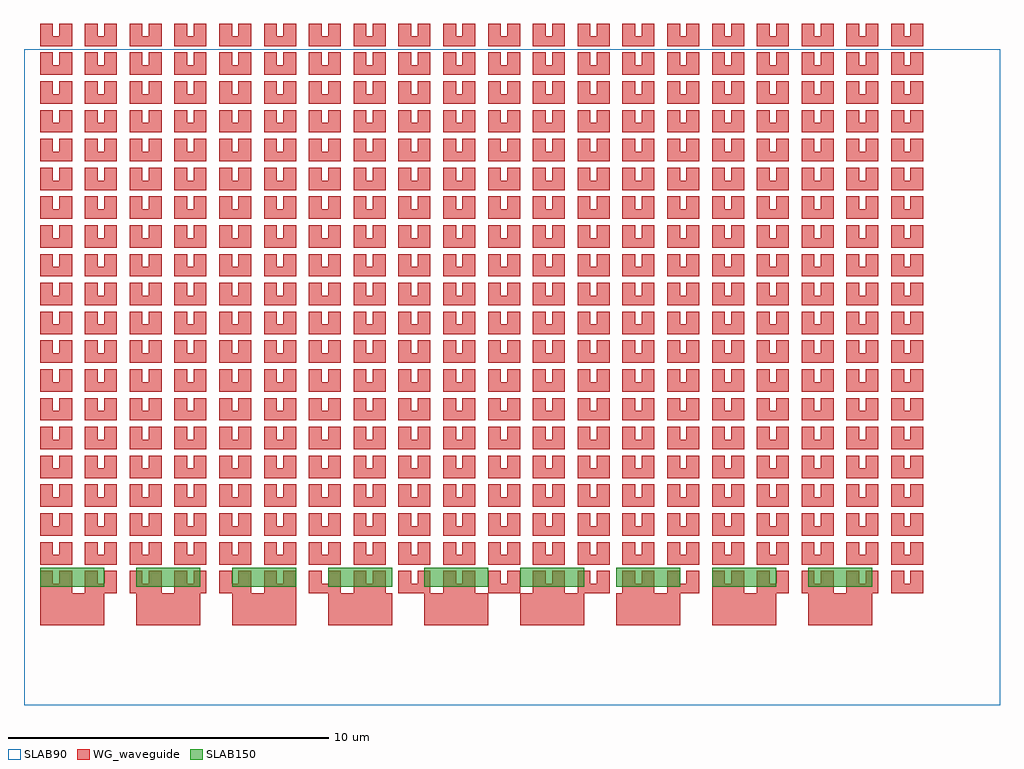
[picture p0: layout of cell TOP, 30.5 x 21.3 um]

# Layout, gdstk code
import gdstk
lib = gdstk.Library(unit=1e-6, precision=1e-09)
def R(c, l, rs):  # rectangles x0, y0, x1, y1
    for r in rs: c.add(gdstk.rectangle(r[:2], r[2:], *l))
def P(c, l, *ps):  # polygons
    for p in ps: c.add(gdstk.Polygon(p, *l))
WG_waveguide = (1, 0)
SLAB150 = (2, 0)
SLAB90 = (3, 0)

child = lib.new_cell('CHILD')
R(child, WG_waveguide, [(0,0,2,1)])
R(child, SLAB150, [(0,1.2,2,1.8)])

top = lib.new_cell('TOP')
P(top, WG_waveguide, [(0,3),(1,3),(1,3.7),(0.6,3.7),(0.6,3.3),(0.4,3.3),(0.4,3.7),(0,3.7)],
  [(1.4,3),(2.4,3),(2.4,3.7),(2,3.7),(2,3.3),(1.8,3.3),(1.8,3.7),(1.4,3.7)],
  [(2.8,3),(3.8,3),(3.8,3.7),(3.4,3.7),(3.4,3.3),(3.2,3.3),(3.2,3.7),(2.8,3.7)],
  [(4.2,3),(5.2,3),(5.2,3.7),(4.8,3.7),(4.8,3.3),(4.6,3.3),(4.6,3.7),(4.2,3.7)],
  [(5.6,3),(6.6,3),(6.6,3.7),(6.2,3.7),(6.2,3.3),(6,3.3),(6,3.7),(5.6,3.7)],
  [(7,3),(8,3),(8,3.7),(7.6,3.7),(7.6,3.3),(7.4,3.3),(7.4,3.7),(7,3.7)],
  [(8.4,3),(9.4,3),(9.4,3.7),(9,3.7),(9,3.3),(8.8,3.3),(8.8,3.7),(8.4,3.7)],
  [(9.8,3),(10.8,3),(10.8,3.7),(10.4,3.7),(10.4,3.3),(10.2,3.3),(10.2,3.7),(9.8,3.7)],
  [(11.2,3),(12.2,3),(12.2,3.7),(11.8,3.7),(11.8,3.3),(11.6,3.3),(11.6,3.7),(11.2,3.7)],
  [(12.6,3),(13.6,3),(13.6,3.7),(13.2,3.7),(13.2,3.3),(13,3.3),(13,3.7),(12.6,3.7)],
  [(14,3),(15,3),(15,3.7),(14.6,3.7),(14.6,3.3),(14.4,3.3),(14.4,3.7),(14,3.7)],
  [(15.4,3),(16.4,3),(16.4,3.7),(16,3.7),(16,3.3),(15.8,3.3),(15.8,3.7),(15.4,3.7)],
  [(16.8,3),(17.8,3),(17.8,3.7),(17.4,3.7),(17.4,3.3),(17.2,3.3),(17.2,3.7),(16.8,3.7)],
  [(18.2,3),(19.2,3),(19.2,3.7),(18.8,3.7),(18.8,3.3),(18.6,3.3),(18.6,3.7),(18.2,3.7)],
  [(19.6,3),(20.6,3),(20.6,3.7),(20.2,3.7),(20.2,3.3),(20,3.3),(20,3.7),(19.6,3.7)],
  [(21,3),(22,3),(22,3.7),(21.6,3.7),(21.6,3.3),(21.4,3.3),(21.4,3.7),(21,3.7)],
  [(22.4,3),(23.4,3),(23.4,3.7),(23,3.7),(23,3.3),(22.8,3.3),(22.8,3.7),(22.4,3.7)],
  [(23.8,3),(24.8,3),(24.8,3.7),(24.4,3.7),(24.4,3.3),(24.2,3.3),(24.2,3.7),(23.8,3.7)],
  [(25.2,3),(26.2,3),(26.2,3.7),(25.8,3.7),(25.8,3.3),(25.6,3.3),(25.6,3.7),(25.2,3.7)],
  [(26.6,3),(27.6,3),(27.6,3.7),(27.2,3.7),(27.2,3.3),(27,3.3),(27,3.7),(26.6,3.7)],
  [(0,3.9),(1,3.9),(1,4.6),(0.6,4.6),(0.6,4.2),(0.4,4.2),(0.4,4.6),(0,4.6)],
  [(1.4,3.9),(2.4,3.9),(2.4,4.6),(2,4.6),(2,4.2),(1.8,4.2),(1.8,4.6),(1.4,4.6)],
  [(2.8,3.9),(3.8,3.9),(3.8,4.6),(3.4,4.6),(3.4,4.2),(3.2,4.2),(3.2,4.6),(2.8,4.6)],
  [(4.2,3.9),(5.2,3.9),(5.2,4.6),(4.8,4.6),(4.8,4.2),(4.6,4.2),(4.6,4.6),(4.2,4.6)],
  [(5.6,3.9),(6.6,3.9),(6.6,4.6),(6.2,4.6),(6.2,4.2),(6,4.2),(6,4.6),(5.6,4.6)],
  [(7,3.9),(8,3.9),(8,4.6),(7.6,4.6),(7.6,4.2),(7.4,4.2),(7.4,4.6),(7,4.6)],
  [(8.4,3.9),(9.4,3.9),(9.4,4.6),(9,4.6),(9,4.2),(8.8,4.2),(8.8,4.6),(8.4,4.6)],
  [(9.8,3.9),(10.8,3.9),(10.8,4.6),(10.4,4.6),(10.4,4.2),(10.2,4.2),(10.2,4.6),(9.8,4.6)],
  [(11.2,3.9),(12.2,3.9),(12.2,4.6),(11.8,4.6),(11.8,4.2),(11.6,4.2),(11.6,4.6),(11.2,4.6)],
  [(12.6,3.9),(13.6,3.9),(13.6,4.6),(13.2,4.6),(13.2,4.2),(13,4.2),(13,4.6),(12.6,4.6)],
  [(14,3.9),(15,3.9),(15,4.6),(14.6,4.6),(14.6,4.2),(14.4,4.2),(14.4,4.6),(14,4.6)],
  [(15.4,3.9),(16.4,3.9),(16.4,4.6),(16,4.6),(16,4.2),(15.8,4.2),(15.8,4.6),(15.4,4.6)],
  [(16.8,3.9),(17.8,3.9),(17.8,4.6),(17.4,4.6),(17.4,4.2),(17.2,4.2),(17.2,4.6),(16.8,4.6)],
  [(18.2,3.9),(19.2,3.9),(19.2,4.6),(18.8,4.6),(18.8,4.2),(18.6,4.2),(18.6,4.6),(18.2,4.6)],
  [(19.6,3.9),(20.6,3.9),(20.6,4.6),(20.2,4.6),(20.2,4.2),(20,4.2),(20,4.6),(19.6,4.6)],
  [(21,3.9),(22,3.9),(22,4.6),(21.6,4.6),(21.6,4.2),(21.4,4.2),(21.4,4.6),(21,4.6)],
  [(22.4,3.9),(23.4,3.9),(23.4,4.6),(23,4.6),(23,4.2),(22.8,4.2),(22.8,4.6),(22.4,4.6)],
  [(23.8,3.9),(24.8,3.9),(24.8,4.6),(24.4,4.6),(24.4,4.2),(24.2,4.2),(24.2,4.6),(23.8,4.6)],
  [(25.2,3.9),(26.2,3.9),(26.2,4.6),(25.8,4.6),(25.8,4.2),(25.6,4.2),(25.6,4.6),(25.2,4.6)],
  [(26.6,3.9),(27.6,3.9),(27.6,4.6),(27.2,4.6),(27.2,4.2),(27,4.2),(27,4.6),(26.6,4.6)],
  [(0,4.8),(1,4.8),(1,5.5),(0.6,5.5),(0.6,5.1),(0.4,5.1),(0.4,5.5),(0,5.5)],
  [(1.4,4.8),(2.4,4.8),(2.4,5.5),(2,5.5),(2,5.1),(1.8,5.1),(1.8,5.5),(1.4,5.5)],
  [(2.8,4.8),(3.8,4.8),(3.8,5.5),(3.4,5.5),(3.4,5.1),(3.2,5.1),(3.2,5.5),(2.8,5.5)],
  [(4.2,4.8),(5.2,4.8),(5.2,5.5),(4.8,5.5),(4.8,5.1),(4.6,5.1),(4.6,5.5),(4.2,5.5)],
  [(5.6,4.8),(6.6,4.8),(6.6,5.5),(6.2,5.5),(6.2,5.1),(6,5.1),(6,5.5),(5.6,5.5)],
  [(7,4.8),(8,4.8),(8,5.5),(7.6,5.5),(7.6,5.1),(7.4,5.1),(7.4,5.5),(7,5.5)],
  [(8.4,4.8),(9.4,4.8),(9.4,5.5),(9,5.5),(9,5.1),(8.8,5.1),(8.8,5.5),(8.4,5.5)],
  [(9.8,4.8),(10.8,4.8),(10.8,5.5),(10.4,5.5),(10.4,5.1),(10.2,5.1),(10.2,5.5),(9.8,5.5)],
  [(11.2,4.8),(12.2,4.8),(12.2,5.5),(11.8,5.5),(11.8,5.1),(11.6,5.1),(11.6,5.5),(11.2,5.5)],
  [(12.6,4.8),(13.6,4.8),(13.6,5.5),(13.2,5.5),(13.2,5.1),(13,5.1),(13,5.5),(12.6,5.5)],
  [(14,4.8),(15,4.8),(15,5.5),(14.6,5.5),(14.6,5.1),(14.4,5.1),(14.4,5.5),(14,5.5)],
  [(15.4,4.8),(16.4,4.8),(16.4,5.5),(16,5.5),(16,5.1),(15.8,5.1),(15.8,5.5),(15.4,5.5)],
  [(16.8,4.8),(17.8,4.8),(17.8,5.5),(17.4,5.5),(17.4,5.1),(17.2,5.1),(17.2,5.5),(16.8,5.5)],
  [(18.2,4.8),(19.2,4.8),(19.2,5.5),(18.8,5.5),(18.8,5.1),(18.6,5.1),(18.6,5.5),(18.2,5.5)],
  [(19.6,4.8),(20.6,4.8),(20.6,5.5),(20.2,5.5),(20.2,5.1),(20,5.1),(20,5.5),(19.6,5.5)],
  [(21,4.8),(22,4.8),(22,5.5),(21.6,5.5),(21.6,5.1),(21.4,5.1),(21.4,5.5),(21,5.5)],
  [(22.4,4.8),(23.4,4.8),(23.4,5.5),(23,5.5),(23,5.1),(22.8,5.1),(22.8,5.5),(22.4,5.5)],
  [(23.8,4.8),(24.8,4.8),(24.8,5.5),(24.4,5.5),(24.4,5.1),(24.2,5.1),(24.2,5.5),(23.8,5.5)],
  [(25.2,4.8),(26.2,4.8),(26.2,5.5),(25.8,5.5),(25.8,5.1),(25.6,5.1),(25.6,5.5),(25.2,5.5)],
  [(26.6,4.8),(27.6,4.8),(27.6,5.5),(27.2,5.5),(27.2,5.1),(27,5.1),(27,5.5),(26.6,5.5)],
  [(0,5.7),(1,5.7),(1,6.4),(0.6,6.4),(0.6,6),(0.4,6),(0.4,6.4),(0,6.4)],
  [(1.4,5.7),(2.4,5.7),(2.4,6.4),(2,6.4),(2,6),(1.8,6),(1.8,6.4),(1.4,6.4)],
  [(2.8,5.7),(3.8,5.7),(3.8,6.4),(3.4,6.4),(3.4,6),(3.2,6),(3.2,6.4),(2.8,6.4)],
  [(4.2,5.7),(5.2,5.7),(5.2,6.4),(4.8,6.4),(4.8,6),(4.6,6),(4.6,6.4),(4.2,6.4)],
  [(5.6,5.7),(6.6,5.7),(6.6,6.4),(6.2,6.4),(6.2,6),(6,6),(6,6.4),(5.6,6.4)],
  [(7,5.7),(8,5.7),(8,6.4),(7.6,6.4),(7.6,6),(7.4,6),(7.4,6.4),(7,6.4)],
  [(8.4,5.7),(9.4,5.7),(9.4,6.4),(9,6.4),(9,6),(8.8,6),(8.8,6.4),(8.4,6.4)],
  [(9.8,5.7),(10.8,5.7),(10.8,6.4),(10.4,6.4),(10.4,6),(10.2,6),(10.2,6.4),(9.8,6.4)],
  [(11.2,5.7),(12.2,5.7),(12.2,6.4),(11.8,6.4),(11.8,6),(11.6,6),(11.6,6.4),(11.2,6.4)],
  [(12.6,5.7),(13.6,5.7),(13.6,6.4),(13.2,6.4),(13.2,6),(13,6),(13,6.4),(12.6,6.4)],
  [(14,5.7),(15,5.7),(15,6.4),(14.6,6.4),(14.6,6),(14.4,6),(14.4,6.4),(14,6.4)],
  [(15.4,5.7),(16.4,5.7),(16.4,6.4),(16,6.4),(16,6),(15.8,6),(15.8,6.4),(15.4,6.4)],
  [(16.8,5.7),(17.8,5.7),(17.8,6.4),(17.4,6.4),(17.4,6),(17.2,6),(17.2,6.4),(16.8,6.4)],
  [(18.2,5.7),(19.2,5.7),(19.2,6.4),(18.8,6.4),(18.8,6),(18.6,6),(18.6,6.4),(18.2,6.4)],
  [(19.6,5.7),(20.6,5.7),(20.6,6.4),(20.2,6.4),(20.2,6),(20,6),(20,6.4),(19.6,6.4)],
  [(21,5.7),(22,5.7),(22,6.4),(21.6,6.4),(21.6,6),(21.4,6),(21.4,6.4),(21,6.4)],
  [(22.4,5.7),(23.4,5.7),(23.4,6.4),(23,6.4),(23,6),(22.8,6),(22.8,6.4),(22.4,6.4)],
  [(23.8,5.7),(24.8,5.7),(24.8,6.4),(24.4,6.4),(24.4,6),(24.2,6),(24.2,6.4),(23.8,6.4)],
  [(25.2,5.7),(26.2,5.7),(26.2,6.4),(25.8,6.4),(25.8,6),(25.6,6),(25.6,6.4),(25.2,6.4)],
  [(26.6,5.7),(27.6,5.7),(27.6,6.4),(27.2,6.4),(27.2,6),(27,6),(27,6.4),(26.6,6.4)],
  [(0,6.6),(1,6.6),(1,7.3),(0.6,7.3),(0.6,6.9),(0.4,6.9),(0.4,7.3),(0,7.3)],
  [(1.4,6.6),(2.4,6.6),(2.4,7.3),(2,7.3),(2,6.9),(1.8,6.9),(1.8,7.3),(1.4,7.3)],
  [(2.8,6.6),(3.8,6.6),(3.8,7.3),(3.4,7.3),(3.4,6.9),(3.2,6.9),(3.2,7.3),(2.8,7.3)],
  [(4.2,6.6),(5.2,6.6),(5.2,7.3),(4.8,7.3),(4.8,6.9),(4.6,6.9),(4.6,7.3),(4.2,7.3)],
  [(5.6,6.6),(6.6,6.6),(6.6,7.3),(6.2,7.3),(6.2,6.9),(6,6.9),(6,7.3),(5.6,7.3)],
  [(7,6.6),(8,6.6),(8,7.3),(7.6,7.3),(7.6,6.9),(7.4,6.9),(7.4,7.3),(7,7.3)],
  [(8.4,6.6),(9.4,6.6),(9.4,7.3),(9,7.3),(9,6.9),(8.8,6.9),(8.8,7.3),(8.4,7.3)],
  [(9.8,6.6),(10.8,6.6),(10.8,7.3),(10.4,7.3),(10.4,6.9),(10.2,6.9),(10.2,7.3),(9.8,7.3)],
  [(11.2,6.6),(12.2,6.6),(12.2,7.3),(11.8,7.3),(11.8,6.9),(11.6,6.9),(11.6,7.3),(11.2,7.3)],
  [(12.6,6.6),(13.6,6.6),(13.6,7.3),(13.2,7.3),(13.2,6.9),(13,6.9),(13,7.3),(12.6,7.3)],
  [(14,6.6),(15,6.6),(15,7.3),(14.6,7.3),(14.6,6.9),(14.4,6.9),(14.4,7.3),(14,7.3)],
  [(15.4,6.6),(16.4,6.6),(16.4,7.3),(16,7.3),(16,6.9),(15.8,6.9),(15.8,7.3),(15.4,7.3)],
  [(16.8,6.6),(17.8,6.6),(17.8,7.3),(17.4,7.3),(17.4,6.9),(17.2,6.9),(17.2,7.3),(16.8,7.3)],
  [(18.2,6.6),(19.2,6.6),(19.2,7.3),(18.8,7.3),(18.8,6.9),(18.6,6.9),(18.6,7.3),(18.2,7.3)],
  [(19.6,6.6),(20.6,6.6),(20.6,7.3),(20.2,7.3),(20.2,6.9),(20,6.9),(20,7.3),(19.6,7.3)],
  [(21,6.6),(22,6.6),(22,7.3),(21.6,7.3),(21.6,6.9),(21.4,6.9),(21.4,7.3),(21,7.3)],
  [(22.4,6.6),(23.4,6.6),(23.4,7.3),(23,7.3),(23,6.9),(22.8,6.9),(22.8,7.3),(22.4,7.3)],
  [(23.8,6.6),(24.8,6.6),(24.8,7.3),(24.4,7.3),(24.4,6.9),(24.2,6.9),(24.2,7.3),(23.8,7.3)],
  [(25.2,6.6),(26.2,6.6),(26.2,7.3),(25.8,7.3),(25.8,6.9),(25.6,6.9),(25.6,7.3),(25.2,7.3)],
  [(26.6,6.6),(27.6,6.6),(27.6,7.3),(27.2,7.3),(27.2,6.9),(27,6.9),(27,7.3),(26.6,7.3)],
  [(0,7.5),(1,7.5),(1,8.2),(0.6,8.2),(0.6,7.8),(0.4,7.8),(0.4,8.2),(0,8.2)],
  [(1.4,7.5),(2.4,7.5),(2.4,8.2),(2,8.2),(2,7.8),(1.8,7.8),(1.8,8.2),(1.4,8.2)],
  [(2.8,7.5),(3.8,7.5),(3.8,8.2),(3.4,8.2),(3.4,7.8),(3.2,7.8),(3.2,8.2),(2.8,8.2)],
  [(4.2,7.5),(5.2,7.5),(5.2,8.2),(4.8,8.2),(4.8,7.8),(4.6,7.8),(4.6,8.2),(4.2,8.2)],
  [(5.6,7.5),(6.6,7.5),(6.6,8.2),(6.2,8.2),(6.2,7.8),(6,7.8),(6,8.2),(5.6,8.2)],
  [(7,7.5),(8,7.5),(8,8.2),(7.6,8.2),(7.6,7.8),(7.4,7.8),(7.4,8.2),(7,8.2)],
  [(8.4,7.5),(9.4,7.5),(9.4,8.2),(9,8.2),(9,7.8),(8.8,7.8),(8.8,8.2),(8.4,8.2)],
  [(9.8,7.5),(10.8,7.5),(10.8,8.2),(10.4,8.2),(10.4,7.8),(10.2,7.8),(10.2,8.2),(9.8,8.2)],
  [(11.2,7.5),(12.2,7.5),(12.2,8.2),(11.8,8.2),(11.8,7.8),(11.6,7.8),(11.6,8.2),(11.2,8.2)],
  [(12.6,7.5),(13.6,7.5),(13.6,8.2),(13.2,8.2),(13.2,7.8),(13,7.8),(13,8.2),(12.6,8.2)],
  [(14,7.5),(15,7.5),(15,8.2),(14.6,8.2),(14.6,7.8),(14.4,7.8),(14.4,8.2),(14,8.2)],
  [(15.4,7.5),(16.4,7.5),(16.4,8.2),(16,8.2),(16,7.8),(15.8,7.8),(15.8,8.2),(15.4,8.2)],
  [(16.8,7.5),(17.8,7.5),(17.8,8.2),(17.4,8.2),(17.4,7.8),(17.2,7.8),(17.2,8.2),(16.8,8.2)],
  [(18.2,7.5),(19.2,7.5),(19.2,8.2),(18.8,8.2),(18.8,7.8),(18.6,7.8),(18.6,8.2),(18.2,8.2)],
  [(19.6,7.5),(20.6,7.5),(20.6,8.2),(20.2,8.2),(20.2,7.8),(20,7.8),(20,8.2),(19.6,8.2)],
  [(21,7.5),(22,7.5),(22,8.2),(21.6,8.2),(21.6,7.8),(21.4,7.8),(21.4,8.2),(21,8.2)],
  [(22.4,7.5),(23.4,7.5),(23.4,8.2),(23,8.2),(23,7.8),(22.8,7.8),(22.8,8.2),(22.4,8.2)],
  [(23.8,7.5),(24.8,7.5),(24.8,8.2),(24.4,8.2),(24.4,7.8),(24.2,7.8),(24.2,8.2),(23.8,8.2)],
  [(25.2,7.5),(26.2,7.5),(26.2,8.2),(25.8,8.2),(25.8,7.8),(25.6,7.8),(25.6,8.2),(25.2,8.2)],
  [(26.6,7.5),(27.6,7.5),(27.6,8.2),(27.2,8.2),(27.2,7.8),(27,7.8),(27,8.2),(26.6,8.2)],
  [(0,8.4),(1,8.4),(1,9.1),(0.6,9.1),(0.6,8.7),(0.4,8.7),(0.4,9.1),(0,9.1)],
  [(1.4,8.4),(2.4,8.4),(2.4,9.1),(2,9.1),(2,8.7),(1.8,8.7),(1.8,9.1),(1.4,9.1)],
  [(2.8,8.4),(3.8,8.4),(3.8,9.1),(3.4,9.1),(3.4,8.7),(3.2,8.7),(3.2,9.1),(2.8,9.1)],
  [(4.2,8.4),(5.2,8.4),(5.2,9.1),(4.8,9.1),(4.8,8.7),(4.6,8.7),(4.6,9.1),(4.2,9.1)],
  [(5.6,8.4),(6.6,8.4),(6.6,9.1),(6.2,9.1),(6.2,8.7),(6,8.7),(6,9.1),(5.6,9.1)],
  [(7,8.4),(8,8.4),(8,9.1),(7.6,9.1),(7.6,8.7),(7.4,8.7),(7.4,9.1),(7,9.1)],
  [(8.4,8.4),(9.4,8.4),(9.4,9.1),(9,9.1),(9,8.7),(8.8,8.7),(8.8,9.1),(8.4,9.1)],
  [(9.8,8.4),(10.8,8.4),(10.8,9.1),(10.4,9.1),(10.4,8.7),(10.2,8.7),(10.2,9.1),(9.8,9.1)],
  [(11.2,8.4),(12.2,8.4),(12.2,9.1),(11.8,9.1),(11.8,8.7),(11.6,8.7),(11.6,9.1),(11.2,9.1)],
  [(12.6,8.4),(13.6,8.4),(13.6,9.1),(13.2,9.1),(13.2,8.7),(13,8.7),(13,9.1),(12.6,9.1)],
  [(14,8.4),(15,8.4),(15,9.1),(14.6,9.1),(14.6,8.7),(14.4,8.7),(14.4,9.1),(14,9.1)],
  [(15.4,8.4),(16.4,8.4),(16.4,9.1),(16,9.1),(16,8.7),(15.8,8.7),(15.8,9.1),(15.4,9.1)],
  [(16.8,8.4),(17.8,8.4),(17.8,9.1),(17.4,9.1),(17.4,8.7),(17.2,8.7),(17.2,9.1),(16.8,9.1)],
  [(18.2,8.4),(19.2,8.4),(19.2,9.1),(18.8,9.1),(18.8,8.7),(18.6,8.7),(18.6,9.1),(18.2,9.1)],
  [(19.6,8.4),(20.6,8.4),(20.6,9.1),(20.2,9.1),(20.2,8.7),(20,8.7),(20,9.1),(19.6,9.1)],
  [(21,8.4),(22,8.4),(22,9.1),(21.6,9.1),(21.6,8.7),(21.4,8.7),(21.4,9.1),(21,9.1)],
  [(22.4,8.4),(23.4,8.4),(23.4,9.1),(23,9.1),(23,8.7),(22.8,8.7),(22.8,9.1),(22.4,9.1)],
  [(23.8,8.4),(24.8,8.4),(24.8,9.1),(24.4,9.1),(24.4,8.7),(24.2,8.7),(24.2,9.1),(23.8,9.1)],
  [(25.2,8.4),(26.2,8.4),(26.2,9.1),(25.8,9.1),(25.8,8.7),(25.6,8.7),(25.6,9.1),(25.2,9.1)],
  [(26.6,8.4),(27.6,8.4),(27.6,9.1),(27.2,9.1),(27.2,8.7),(27,8.7),(27,9.1),(26.6,9.1)],
  [(0,9.3),(1,9.3),(1,10),(0.6,10),(0.6,9.6),(0.4,9.6),(0.4,10),(0,10)],
  [(1.4,9.3),(2.4,9.3),(2.4,10),(2,10),(2,9.6),(1.8,9.6),(1.8,10),(1.4,10)],
  [(2.8,9.3),(3.8,9.3),(3.8,10),(3.4,10),(3.4,9.6),(3.2,9.6),(3.2,10),(2.8,10)],
  [(4.2,9.3),(5.2,9.3),(5.2,10),(4.8,10),(4.8,9.6),(4.6,9.6),(4.6,10),(4.2,10)],
  [(5.6,9.3),(6.6,9.3),(6.6,10),(6.2,10),(6.2,9.6),(6,9.6),(6,10),(5.6,10)],
  [(7,9.3),(8,9.3),(8,10),(7.6,10),(7.6,9.6),(7.4,9.6),(7.4,10),(7,10)],
  [(8.4,9.3),(9.4,9.3),(9.4,10),(9,10),(9,9.6),(8.8,9.6),(8.8,10),(8.4,10)],
  [(9.8,9.3),(10.8,9.3),(10.8,10),(10.4,10),(10.4,9.6),(10.2,9.6),(10.2,10),(9.8,10)],
  [(11.2,9.3),(12.2,9.3),(12.2,10),(11.8,10),(11.8,9.6),(11.6,9.6),(11.6,10),(11.2,10)],
  [(12.6,9.3),(13.6,9.3),(13.6,10),(13.2,10),(13.2,9.6),(13,9.6),(13,10),(12.6,10)],
  [(14,9.3),(15,9.3),(15,10),(14.6,10),(14.6,9.6),(14.4,9.6),(14.4,10),(14,10)],
  [(15.4,9.3),(16.4,9.3),(16.4,10),(16,10),(16,9.6),(15.8,9.6),(15.8,10),(15.4,10)],
  [(16.8,9.3),(17.8,9.3),(17.8,10),(17.4,10),(17.4,9.6),(17.2,9.6),(17.2,10),(16.8,10)],
  [(18.2,9.3),(19.2,9.3),(19.2,10),(18.8,10),(18.8,9.6),(18.6,9.6),(18.6,10),(18.2,10)],
  [(19.6,9.3),(20.6,9.3),(20.6,10),(20.2,10),(20.2,9.6),(20,9.6),(20,10),(19.6,10)],
  [(21,9.3),(22,9.3),(22,10),(21.6,10),(21.6,9.6),(21.4,9.6),(21.4,10),(21,10)],
  [(22.4,9.3),(23.4,9.3),(23.4,10),(23,10),(23,9.6),(22.8,9.6),(22.8,10),(22.4,10)],
  [(23.8,9.3),(24.8,9.3),(24.8,10),(24.4,10),(24.4,9.6),(24.2,9.6),(24.2,10),(23.8,10)],
  [(25.2,9.3),(26.2,9.3),(26.2,10),(25.8,10),(25.8,9.6),(25.6,9.6),(25.6,10),(25.2,10)],
  [(26.6,9.3),(27.6,9.3),(27.6,10),(27.2,10),(27.2,9.6),(27,9.6),(27,10),(26.6,10)],
  [(0,10.2),(1,10.2),(1,10.9),(0.6,10.9),(0.6,10.5),(0.4,10.5),(0.4,10.9),(0,10.9)],
  [(1.4,10.2),(2.4,10.2),(2.4,10.9),(2,10.9),(2,10.5),(1.8,10.5),(1.8,10.9),(1.4,10.9)],
  [(2.8,10.2),(3.8,10.2),(3.8,10.9),(3.4,10.9),(3.4,10.5),(3.2,10.5),(3.2,10.9),(2.8,10.9)],
  [(4.2,10.2),(5.2,10.2),(5.2,10.9),(4.8,10.9),(4.8,10.5),(4.6,10.5),(4.6,10.9),(4.2,10.9)],
  [(5.6,10.2),(6.6,10.2),(6.6,10.9),(6.2,10.9),(6.2,10.5),(6,10.5),(6,10.9),(5.6,10.9)],
  [(7,10.2),(8,10.2),(8,10.9),(7.6,10.9),(7.6,10.5),(7.4,10.5),(7.4,10.9),(7,10.9)],
  [(8.4,10.2),(9.4,10.2),(9.4,10.9),(9,10.9),(9,10.5),(8.8,10.5),(8.8,10.9),(8.4,10.9)],
  [(9.8,10.2),(10.8,10.2),(10.8,10.9),(10.4,10.9),(10.4,10.5),(10.2,10.5),(10.2,10.9),(9.8,10.9)],
  [(11.2,10.2),(12.2,10.2),(12.2,10.9),(11.8,10.9),(11.8,10.5),(11.6,10.5),(11.6,10.9),(11.2,10.9)],
  [(12.6,10.2),(13.6,10.2),(13.6,10.9),(13.2,10.9),(13.2,10.5),(13,10.5),(13,10.9),(12.6,10.9)],
  [(14,10.2),(15,10.2),(15,10.9),(14.6,10.9),(14.6,10.5),(14.4,10.5),(14.4,10.9),(14,10.9)],
  [(15.4,10.2),(16.4,10.2),(16.4,10.9),(16,10.9),(16,10.5),(15.8,10.5),(15.8,10.9),(15.4,10.9)],
  [(16.8,10.2),(17.8,10.2),(17.8,10.9),(17.4,10.9),(17.4,10.5),(17.2,10.5),(17.2,10.9),(16.8,10.9)],
  [(18.2,10.2),(19.2,10.2),(19.2,10.9),(18.8,10.9),(18.8,10.5),(18.6,10.5),(18.6,10.9),(18.2,10.9)],
  [(19.6,10.2),(20.6,10.2),(20.6,10.9),(20.2,10.9),(20.2,10.5),(20,10.5),(20,10.9),(19.6,10.9)],
  [(21,10.2),(22,10.2),(22,10.9),(21.6,10.9),(21.6,10.5),(21.4,10.5),(21.4,10.9),(21,10.9)],
  [(22.4,10.2),(23.4,10.2),(23.4,10.9),(23,10.9),(23,10.5),(22.8,10.5),(22.8,10.9),(22.4,10.9)],
  [(23.8,10.2),(24.8,10.2),(24.8,10.9),(24.4,10.9),(24.4,10.5),(24.2,10.5),(24.2,10.9),(23.8,10.9)],
  [(25.2,10.2),(26.2,10.2),(26.2,10.9),(25.8,10.9),(25.8,10.5),(25.6,10.5),(25.6,10.9),(25.2,10.9)],
  [(26.6,10.2),(27.6,10.2),(27.6,10.9),(27.2,10.9),(27.2,10.5),(27,10.5),(27,10.9),(26.6,10.9)],
  [(0,11.1),(1,11.1),(1,11.8),(0.6,11.8),(0.6,11.4),(0.4,11.4),(0.4,11.8),(0,11.8)],
  [(1.4,11.1),(2.4,11.1),(2.4,11.8),(2,11.8),(2,11.4),(1.8,11.4),(1.8,11.8),(1.4,11.8)],
  [(2.8,11.1),(3.8,11.1),(3.8,11.8),(3.4,11.8),(3.4,11.4),(3.2,11.4),(3.2,11.8),(2.8,11.8)],
  [(4.2,11.1),(5.2,11.1),(5.2,11.8),(4.8,11.8),(4.8,11.4),(4.6,11.4),(4.6,11.8),(4.2,11.8)],
  [(5.6,11.1),(6.6,11.1),(6.6,11.8),(6.2,11.8),(6.2,11.4),(6,11.4),(6,11.8),(5.6,11.8)],
  [(7,11.1),(8,11.1),(8,11.8),(7.6,11.8),(7.6,11.4),(7.4,11.4),(7.4,11.8),(7,11.8)],
  [(8.4,11.1),(9.4,11.1),(9.4,11.8),(9,11.8),(9,11.4),(8.8,11.4),(8.8,11.8),(8.4,11.8)],
  [(9.8,11.1),(10.8,11.1),(10.8,11.8),(10.4,11.8),(10.4,11.4),(10.2,11.4),(10.2,11.8),(9.8,11.8)],
  [(11.2,11.1),(12.2,11.1),(12.2,11.8),(11.8,11.8),(11.8,11.4),(11.6,11.4),(11.6,11.8),(11.2,11.8)],
  [(12.6,11.1),(13.6,11.1),(13.6,11.8),(13.2,11.8),(13.2,11.4),(13,11.4),(13,11.8),(12.6,11.8)],
  [(14,11.1),(15,11.1),(15,11.8),(14.6,11.8),(14.6,11.4),(14.4,11.4),(14.4,11.8),(14,11.8)],
  [(15.4,11.1),(16.4,11.1),(16.4,11.8),(16,11.8),(16,11.4),(15.8,11.4),(15.8,11.8),(15.4,11.8)],
  [(16.8,11.1),(17.8,11.1),(17.8,11.8),(17.4,11.8),(17.4,11.4),(17.2,11.4),(17.2,11.8),(16.8,11.8)],
  [(18.2,11.1),(19.2,11.1),(19.2,11.8),(18.8,11.8),(18.8,11.4),(18.6,11.4),(18.6,11.8),(18.2,11.8)],
  [(19.6,11.1),(20.6,11.1),(20.6,11.8),(20.2,11.8),(20.2,11.4),(20,11.4),(20,11.8),(19.6,11.8)],
  [(21,11.1),(22,11.1),(22,11.8),(21.6,11.8),(21.6,11.4),(21.4,11.4),(21.4,11.8),(21,11.8)],
  [(22.4,11.1),(23.4,11.1),(23.4,11.8),(23,11.8),(23,11.4),(22.8,11.4),(22.8,11.8),(22.4,11.8)],
  [(23.8,11.1),(24.8,11.1),(24.8,11.8),(24.4,11.8),(24.4,11.4),(24.2,11.4),(24.2,11.8),(23.8,11.8)],
  [(25.2,11.1),(26.2,11.1),(26.2,11.8),(25.8,11.8),(25.8,11.4),(25.6,11.4),(25.6,11.8),(25.2,11.8)],
  [(26.6,11.1),(27.6,11.1),(27.6,11.8),(27.2,11.8),(27.2,11.4),(27,11.4),(27,11.8),(26.6,11.8)],
  [(0,12),(1,12),(1,12.7),(0.6,12.7),(0.6,12.3),(0.4,12.3),(0.4,12.7),(0,12.7)],
  [(1.4,12),(2.4,12),(2.4,12.7),(2,12.7),(2,12.3),(1.8,12.3),(1.8,12.7),(1.4,12.7)],
  [(2.8,12),(3.8,12),(3.8,12.7),(3.4,12.7),(3.4,12.3),(3.2,12.3),(3.2,12.7),(2.8,12.7)],
  [(4.2,12),(5.2,12),(5.2,12.7),(4.8,12.7),(4.8,12.3),(4.6,12.3),(4.6,12.7),(4.2,12.7)],
  [(5.6,12),(6.6,12),(6.6,12.7),(6.2,12.7),(6.2,12.3),(6,12.3),(6,12.7),(5.6,12.7)],
  [(7,12),(8,12),(8,12.7),(7.6,12.7),(7.6,12.3),(7.4,12.3),(7.4,12.7),(7,12.7)],
  [(8.4,12),(9.4,12),(9.4,12.7),(9,12.7),(9,12.3),(8.8,12.3),(8.8,12.7),(8.4,12.7)],
  [(9.8,12),(10.8,12),(10.8,12.7),(10.4,12.7),(10.4,12.3),(10.2,12.3),(10.2,12.7),(9.8,12.7)],
  [(11.2,12),(12.2,12),(12.2,12.7),(11.8,12.7),(11.8,12.3),(11.6,12.3),(11.6,12.7),(11.2,12.7)],
  [(12.6,12),(13.6,12),(13.6,12.7),(13.2,12.7),(13.2,12.3),(13,12.3),(13,12.7),(12.6,12.7)],
  [(14,12),(15,12),(15,12.7),(14.6,12.7),(14.6,12.3),(14.4,12.3),(14.4,12.7),(14,12.7)],
  [(15.4,12),(16.4,12),(16.4,12.7),(16,12.7),(16,12.3),(15.8,12.3),(15.8,12.7),(15.4,12.7)],
  [(16.8,12),(17.8,12),(17.8,12.7),(17.4,12.7),(17.4,12.3),(17.2,12.3),(17.2,12.7),(16.8,12.7)],
  [(18.2,12),(19.2,12),(19.2,12.7),(18.8,12.7),(18.8,12.3),(18.6,12.3),(18.6,12.7),(18.2,12.7)],
  [(19.6,12),(20.6,12),(20.6,12.7),(20.2,12.7),(20.2,12.3),(20,12.3),(20,12.7),(19.6,12.7)],
  [(21,12),(22,12),(22,12.7),(21.6,12.7),(21.6,12.3),(21.4,12.3),(21.4,12.7),(21,12.7)],
  [(22.4,12),(23.4,12),(23.4,12.7),(23,12.7),(23,12.3),(22.8,12.3),(22.8,12.7),(22.4,12.7)],
  [(23.8,12),(24.8,12),(24.8,12.7),(24.4,12.7),(24.4,12.3),(24.2,12.3),(24.2,12.7),(23.8,12.7)],
  [(25.2,12),(26.2,12),(26.2,12.7),(25.8,12.7),(25.8,12.3),(25.6,12.3),(25.6,12.7),(25.2,12.7)],
  [(26.6,12),(27.6,12),(27.6,12.7),(27.2,12.7),(27.2,12.3),(27,12.3),(27,12.7),(26.6,12.7)],
  [(0,12.9),(1,12.9),(1,13.6),(0.6,13.6),(0.6,13.2),(0.4,13.2),(0.4,13.6),(0,13.6)],
  [(1.4,12.9),(2.4,12.9),(2.4,13.6),(2,13.6),(2,13.2),(1.8,13.2),(1.8,13.6),(1.4,13.6)],
  [(2.8,12.9),(3.8,12.9),(3.8,13.6),(3.4,13.6),(3.4,13.2),(3.2,13.2),(3.2,13.6),(2.8,13.6)],
  [(4.2,12.9),(5.2,12.9),(5.2,13.6),(4.8,13.6),(4.8,13.2),(4.6,13.2),(4.6,13.6),(4.2,13.6)],
  [(5.6,12.9),(6.6,12.9),(6.6,13.6),(6.2,13.6),(6.2,13.2),(6,13.2),(6,13.6),(5.6,13.6)],
  [(7,12.9),(8,12.9),(8,13.6),(7.6,13.6),(7.6,13.2),(7.4,13.2),(7.4,13.6),(7,13.6)],
  [(8.4,12.9),(9.4,12.9),(9.4,13.6),(9,13.6),(9,13.2),(8.8,13.2),(8.8,13.6),(8.4,13.6)],
  [(9.8,12.9),(10.8,12.9),(10.8,13.6),(10.4,13.6),(10.4,13.2),(10.2,13.2),(10.2,13.6),(9.8,13.6)],
  [(11.2,12.9),(12.2,12.9),(12.2,13.6),(11.8,13.6),(11.8,13.2),(11.6,13.2),(11.6,13.6),(11.2,13.6)],
  [(12.6,12.9),(13.6,12.9),(13.6,13.6),(13.2,13.6),(13.2,13.2),(13,13.2),(13,13.6),(12.6,13.6)],
  [(14,12.9),(15,12.9),(15,13.6),(14.6,13.6),(14.6,13.2),(14.4,13.2),(14.4,13.6),(14,13.6)],
  [(15.4,12.9),(16.4,12.9),(16.4,13.6),(16,13.6),(16,13.2),(15.8,13.2),(15.8,13.6),(15.4,13.6)],
  [(16.8,12.9),(17.8,12.9),(17.8,13.6),(17.4,13.6),(17.4,13.2),(17.2,13.2),(17.2,13.6),(16.8,13.6)],
  [(18.2,12.9),(19.2,12.9),(19.2,13.6),(18.8,13.6),(18.8,13.2),(18.6,13.2),(18.6,13.6),(18.2,13.6)],
  [(19.6,12.9),(20.6,12.9),(20.6,13.6),(20.2,13.6),(20.2,13.2),(20,13.2),(20,13.6),(19.6,13.6)],
  [(21,12.9),(22,12.9),(22,13.6),(21.6,13.6),(21.6,13.2),(21.4,13.2),(21.4,13.6),(21,13.6)],
  [(22.4,12.9),(23.4,12.9),(23.4,13.6),(23,13.6),(23,13.2),(22.8,13.2),(22.8,13.6),(22.4,13.6)],
  [(23.8,12.9),(24.8,12.9),(24.8,13.6),(24.4,13.6),(24.4,13.2),(24.2,13.2),(24.2,13.6),(23.8,13.6)],
  [(25.2,12.9),(26.2,12.9),(26.2,13.6),(25.8,13.6),(25.8,13.2),(25.6,13.2),(25.6,13.6),(25.2,13.6)],
  [(26.6,12.9),(27.6,12.9),(27.6,13.6),(27.2,13.6),(27.2,13.2),(27,13.2),(27,13.6),(26.6,13.6)],
  [(0,13.8),(1,13.8),(1,14.5),(0.6,14.5),(0.6,14.1),(0.4,14.1),(0.4,14.5),(0,14.5)],
  [(1.4,13.8),(2.4,13.8),(2.4,14.5),(2,14.5),(2,14.1),(1.8,14.1),(1.8,14.5),(1.4,14.5)],
  [(2.8,13.8),(3.8,13.8),(3.8,14.5),(3.4,14.5),(3.4,14.1),(3.2,14.1),(3.2,14.5),(2.8,14.5)],
  [(4.2,13.8),(5.2,13.8),(5.2,14.5),(4.8,14.5),(4.8,14.1),(4.6,14.1),(4.6,14.5),(4.2,14.5)],
  [(5.6,13.8),(6.6,13.8),(6.6,14.5),(6.2,14.5),(6.2,14.1),(6,14.1),(6,14.5),(5.6,14.5)],
  [(7,13.8),(8,13.8),(8,14.5),(7.6,14.5),(7.6,14.1),(7.4,14.1),(7.4,14.5),(7,14.5)],
  [(8.4,13.8),(9.4,13.8),(9.4,14.5),(9,14.5),(9,14.1),(8.8,14.1),(8.8,14.5),(8.4,14.5)],
  [(9.8,13.8),(10.8,13.8),(10.8,14.5),(10.4,14.5),(10.4,14.1),(10.2,14.1),(10.2,14.5),(9.8,14.5)],
  [(11.2,13.8),(12.2,13.8),(12.2,14.5),(11.8,14.5),(11.8,14.1),(11.6,14.1),(11.6,14.5),(11.2,14.5)],
  [(12.6,13.8),(13.6,13.8),(13.6,14.5),(13.2,14.5),(13.2,14.1),(13,14.1),(13,14.5),(12.6,14.5)],
  [(14,13.8),(15,13.8),(15,14.5),(14.6,14.5),(14.6,14.1),(14.4,14.1),(14.4,14.5),(14,14.5)],
  [(15.4,13.8),(16.4,13.8),(16.4,14.5),(16,14.5),(16,14.1),(15.8,14.1),(15.8,14.5),(15.4,14.5)],
  [(16.8,13.8),(17.8,13.8),(17.8,14.5),(17.4,14.5),(17.4,14.1),(17.2,14.1),(17.2,14.5),(16.8,14.5)],
  [(18.2,13.8),(19.2,13.8),(19.2,14.5),(18.8,14.5),(18.8,14.1),(18.6,14.1),(18.6,14.5),(18.2,14.5)],
  [(19.6,13.8),(20.6,13.8),(20.6,14.5),(20.2,14.5),(20.2,14.1),(20,14.1),(20,14.5),(19.6,14.5)],
  [(21,13.8),(22,13.8),(22,14.5),(21.6,14.5),(21.6,14.1),(21.4,14.1),(21.4,14.5),(21,14.5)],
  [(22.4,13.8),(23.4,13.8),(23.4,14.5),(23,14.5),(23,14.1),(22.8,14.1),(22.8,14.5),(22.4,14.5)],
  [(23.8,13.8),(24.8,13.8),(24.8,14.5),(24.4,14.5),(24.4,14.1),(24.2,14.1),(24.2,14.5),(23.8,14.5)],
  [(25.2,13.8),(26.2,13.8),(26.2,14.5),(25.8,14.5),(25.8,14.1),(25.6,14.1),(25.6,14.5),(25.2,14.5)],
  [(26.6,13.8),(27.6,13.8),(27.6,14.5),(27.2,14.5),(27.2,14.1),(27,14.1),(27,14.5),(26.6,14.5)],
  [(0,14.7),(1,14.7),(1,15.4),(0.6,15.4),(0.6,15),(0.4,15),(0.4,15.4),(0,15.4)],
  [(1.4,14.7),(2.4,14.7),(2.4,15.4),(2,15.4),(2,15),(1.8,15),(1.8,15.4),(1.4,15.4)],
  [(2.8,14.7),(3.8,14.7),(3.8,15.4),(3.4,15.4),(3.4,15),(3.2,15),(3.2,15.4),(2.8,15.4)],
  [(4.2,14.7),(5.2,14.7),(5.2,15.4),(4.8,15.4),(4.8,15),(4.6,15),(4.6,15.4),(4.2,15.4)],
  [(5.6,14.7),(6.6,14.7),(6.6,15.4),(6.2,15.4),(6.2,15),(6,15),(6,15.4),(5.6,15.4)],
  [(7,14.7),(8,14.7),(8,15.4),(7.6,15.4),(7.6,15),(7.4,15),(7.4,15.4),(7,15.4)],
  [(8.4,14.7),(9.4,14.7),(9.4,15.4),(9,15.4),(9,15),(8.8,15),(8.8,15.4),(8.4,15.4)],
  [(9.8,14.7),(10.8,14.7),(10.8,15.4),(10.4,15.4),(10.4,15),(10.2,15),(10.2,15.4),(9.8,15.4)],
  [(11.2,14.7),(12.2,14.7),(12.2,15.4),(11.8,15.4),(11.8,15),(11.6,15),(11.6,15.4),(11.2,15.4)],
  [(12.6,14.7),(13.6,14.7),(13.6,15.4),(13.2,15.4),(13.2,15),(13,15),(13,15.4),(12.6,15.4)],
  [(14,14.7),(15,14.7),(15,15.4),(14.6,15.4),(14.6,15),(14.4,15),(14.4,15.4),(14,15.4)],
  [(15.4,14.7),(16.4,14.7),(16.4,15.4),(16,15.4),(16,15),(15.8,15),(15.8,15.4),(15.4,15.4)],
  [(16.8,14.7),(17.8,14.7),(17.8,15.4),(17.4,15.4),(17.4,15),(17.2,15),(17.2,15.4),(16.8,15.4)],
  [(18.2,14.7),(19.2,14.7),(19.2,15.4),(18.8,15.4),(18.8,15),(18.6,15),(18.6,15.4),(18.2,15.4)],
  [(19.6,14.7),(20.6,14.7),(20.6,15.4),(20.2,15.4),(20.2,15),(20,15),(20,15.4),(19.6,15.4)],
  [(21,14.7),(22,14.7),(22,15.4),(21.6,15.4),(21.6,15),(21.4,15),(21.4,15.4),(21,15.4)],
  [(22.4,14.7),(23.4,14.7),(23.4,15.4),(23,15.4),(23,15),(22.8,15),(22.8,15.4),(22.4,15.4)],
  [(23.8,14.7),(24.8,14.7),(24.8,15.4),(24.4,15.4),(24.4,15),(24.2,15),(24.2,15.4),(23.8,15.4)],
  [(25.2,14.7),(26.2,14.7),(26.2,15.4),(25.8,15.4),(25.8,15),(25.6,15),(25.6,15.4),(25.2,15.4)],
  [(26.6,14.7),(27.6,14.7),(27.6,15.4),(27.2,15.4),(27.2,15),(27,15),(27,15.4),(26.6,15.4)],
  [(0,15.6),(1,15.6),(1,16.3),(0.6,16.3),(0.6,15.9),(0.4,15.9),(0.4,16.3),(0,16.3)],
  [(1.4,15.6),(2.4,15.6),(2.4,16.3),(2,16.3),(2,15.9),(1.8,15.9),(1.8,16.3),(1.4,16.3)],
  [(2.8,15.6),(3.8,15.6),(3.8,16.3),(3.4,16.3),(3.4,15.9),(3.2,15.9),(3.2,16.3),(2.8,16.3)],
  [(4.2,15.6),(5.2,15.6),(5.2,16.3),(4.8,16.3),(4.8,15.9),(4.6,15.9),(4.6,16.3),(4.2,16.3)],
  [(5.6,15.6),(6.6,15.6),(6.6,16.3),(6.2,16.3),(6.2,15.9),(6,15.9),(6,16.3),(5.6,16.3)],
  [(7,15.6),(8,15.6),(8,16.3),(7.6,16.3),(7.6,15.9),(7.4,15.9),(7.4,16.3),(7,16.3)],
  [(8.4,15.6),(9.4,15.6),(9.4,16.3),(9,16.3),(9,15.9),(8.8,15.9),(8.8,16.3),(8.4,16.3)],
  [(9.8,15.6),(10.8,15.6),(10.8,16.3),(10.4,16.3),(10.4,15.9),(10.2,15.9),(10.2,16.3),(9.8,16.3)],
  [(11.2,15.6),(12.2,15.6),(12.2,16.3),(11.8,16.3),(11.8,15.9),(11.6,15.9),(11.6,16.3),(11.2,16.3)],
  [(12.6,15.6),(13.6,15.6),(13.6,16.3),(13.2,16.3),(13.2,15.9),(13,15.9),(13,16.3),(12.6,16.3)],
  [(14,15.6),(15,15.6),(15,16.3),(14.6,16.3),(14.6,15.9),(14.4,15.9),(14.4,16.3),(14,16.3)],
  [(15.4,15.6),(16.4,15.6),(16.4,16.3),(16,16.3),(16,15.9),(15.8,15.9),(15.8,16.3),(15.4,16.3)],
  [(16.8,15.6),(17.8,15.6),(17.8,16.3),(17.4,16.3),(17.4,15.9),(17.2,15.9),(17.2,16.3),(16.8,16.3)],
  [(18.2,15.6),(19.2,15.6),(19.2,16.3),(18.8,16.3),(18.8,15.9),(18.6,15.9),(18.6,16.3),(18.2,16.3)],
  [(19.6,15.6),(20.6,15.6),(20.6,16.3),(20.2,16.3),(20.2,15.9),(20,15.9),(20,16.3),(19.6,16.3)],
  [(21,15.6),(22,15.6),(22,16.3),(21.6,16.3),(21.6,15.9),(21.4,15.9),(21.4,16.3),(21,16.3)],
  [(22.4,15.6),(23.4,15.6),(23.4,16.3),(23,16.3),(23,15.9),(22.8,15.9),(22.8,16.3),(22.4,16.3)],
  [(23.8,15.6),(24.8,15.6),(24.8,16.3),(24.4,16.3),(24.4,15.9),(24.2,15.9),(24.2,16.3),(23.8,16.3)],
  [(25.2,15.6),(26.2,15.6),(26.2,16.3),(25.8,16.3),(25.8,15.9),(25.6,15.9),(25.6,16.3),(25.2,16.3)],
  [(26.6,15.6),(27.6,15.6),(27.6,16.3),(27.2,16.3),(27.2,15.9),(27,15.9),(27,16.3),(26.6,16.3)],
  [(0,16.5),(1,16.5),(1,17.2),(0.6,17.2),(0.6,16.8),(0.4,16.8),(0.4,17.2),(0,17.2)],
  [(1.4,16.5),(2.4,16.5),(2.4,17.2),(2,17.2),(2,16.8),(1.8,16.8),(1.8,17.2),(1.4,17.2)],
  [(2.8,16.5),(3.8,16.5),(3.8,17.2),(3.4,17.2),(3.4,16.8),(3.2,16.8),(3.2,17.2),(2.8,17.2)],
  [(4.2,16.5),(5.2,16.5),(5.2,17.2),(4.8,17.2),(4.8,16.8),(4.6,16.8),(4.6,17.2),(4.2,17.2)],
  [(5.6,16.5),(6.6,16.5),(6.6,17.2),(6.2,17.2),(6.2,16.8),(6,16.8),(6,17.2),(5.6,17.2)],
  [(7,16.5),(8,16.5),(8,17.2),(7.6,17.2),(7.6,16.8),(7.4,16.8),(7.4,17.2),(7,17.2)],
  [(8.4,16.5),(9.4,16.5),(9.4,17.2),(9,17.2),(9,16.8),(8.8,16.8),(8.8,17.2),(8.4,17.2)],
  [(9.8,16.5),(10.8,16.5),(10.8,17.2),(10.4,17.2),(10.4,16.8),(10.2,16.8),(10.2,17.2),(9.8,17.2)],
  [(11.2,16.5),(12.2,16.5),(12.2,17.2),(11.8,17.2),(11.8,16.8),(11.6,16.8),(11.6,17.2),(11.2,17.2)],
  [(12.6,16.5),(13.6,16.5),(13.6,17.2),(13.2,17.2),(13.2,16.8),(13,16.8),(13,17.2),(12.6,17.2)],
  [(14,16.5),(15,16.5),(15,17.2),(14.6,17.2),(14.6,16.8),(14.4,16.8),(14.4,17.2),(14,17.2)],
  [(15.4,16.5),(16.4,16.5),(16.4,17.2),(16,17.2),(16,16.8),(15.8,16.8),(15.8,17.2),(15.4,17.2)],
  [(16.8,16.5),(17.8,16.5),(17.8,17.2),(17.4,17.2),(17.4,16.8),(17.2,16.8),(17.2,17.2),(16.8,17.2)],
  [(18.2,16.5),(19.2,16.5),(19.2,17.2),(18.8,17.2),(18.8,16.8),(18.6,16.8),(18.6,17.2),(18.2,17.2)],
  [(19.6,16.5),(20.6,16.5),(20.6,17.2),(20.2,17.2),(20.2,16.8),(20,16.8),(20,17.2),(19.6,17.2)],
  [(21,16.5),(22,16.5),(22,17.2),(21.6,17.2),(21.6,16.8),(21.4,16.8),(21.4,17.2),(21,17.2)],
  [(22.4,16.5),(23.4,16.5),(23.4,17.2),(23,17.2),(23,16.8),(22.8,16.8),(22.8,17.2),(22.4,17.2)],
  [(23.8,16.5),(24.8,16.5),(24.8,17.2),(24.4,17.2),(24.4,16.8),(24.2,16.8),(24.2,17.2),(23.8,17.2)],
  [(25.2,16.5),(26.2,16.5),(26.2,17.2),(25.8,17.2),(25.8,16.8),(25.6,16.8),(25.6,17.2),(25.2,17.2)],
  [(26.6,16.5),(27.6,16.5),(27.6,17.2),(27.2,17.2),(27.2,16.8),(27,16.8),(27,17.2),(26.6,17.2)],
  [(0,17.4),(1,17.4),(1,18.1),(0.6,18.1),(0.6,17.7),(0.4,17.7),(0.4,18.1),(0,18.1)],
  [(1.4,17.4),(2.4,17.4),(2.4,18.1),(2,18.1),(2,17.7),(1.8,17.7),(1.8,18.1),(1.4,18.1)],
  [(2.8,17.4),(3.8,17.4),(3.8,18.1),(3.4,18.1),(3.4,17.7),(3.2,17.7),(3.2,18.1),(2.8,18.1)],
  [(4.2,17.4),(5.2,17.4),(5.2,18.1),(4.8,18.1),(4.8,17.7),(4.6,17.7),(4.6,18.1),(4.2,18.1)],
  [(5.6,17.4),(6.6,17.4),(6.6,18.1),(6.2,18.1),(6.2,17.7),(6,17.7),(6,18.1),(5.6,18.1)],
  [(7,17.4),(8,17.4),(8,18.1),(7.6,18.1),(7.6,17.7),(7.4,17.7),(7.4,18.1),(7,18.1)],
  [(8.4,17.4),(9.4,17.4),(9.4,18.1),(9,18.1),(9,17.7),(8.8,17.7),(8.8,18.1),(8.4,18.1)],
  [(9.8,17.4),(10.8,17.4),(10.8,18.1),(10.4,18.1),(10.4,17.7),(10.2,17.7),(10.2,18.1),(9.8,18.1)],
  [(11.2,17.4),(12.2,17.4),(12.2,18.1),(11.8,18.1),(11.8,17.7),(11.6,17.7),(11.6,18.1),(11.2,18.1)],
  [(12.6,17.4),(13.6,17.4),(13.6,18.1),(13.2,18.1),(13.2,17.7),(13,17.7),(13,18.1),(12.6,18.1)],
  [(14,17.4),(15,17.4),(15,18.1),(14.6,18.1),(14.6,17.7),(14.4,17.7),(14.4,18.1),(14,18.1)],
  [(15.4,17.4),(16.4,17.4),(16.4,18.1),(16,18.1),(16,17.7),(15.8,17.7),(15.8,18.1),(15.4,18.1)],
  [(16.8,17.4),(17.8,17.4),(17.8,18.1),(17.4,18.1),(17.4,17.7),(17.2,17.7),(17.2,18.1),(16.8,18.1)],
  [(18.2,17.4),(19.2,17.4),(19.2,18.1),(18.8,18.1),(18.8,17.7),(18.6,17.7),(18.6,18.1),(18.2,18.1)],
  [(19.6,17.4),(20.6,17.4),(20.6,18.1),(20.2,18.1),(20.2,17.7),(20,17.7),(20,18.1),(19.6,18.1)],
  [(21,17.4),(22,17.4),(22,18.1),(21.6,18.1),(21.6,17.7),(21.4,17.7),(21.4,18.1),(21,18.1)],
  [(22.4,17.4),(23.4,17.4),(23.4,18.1),(23,18.1),(23,17.7),(22.8,17.7),(22.8,18.1),(22.4,18.1)],
  [(23.8,17.4),(24.8,17.4),(24.8,18.1),(24.4,18.1),(24.4,17.7),(24.2,17.7),(24.2,18.1),(23.8,18.1)],
  [(25.2,17.4),(26.2,17.4),(26.2,18.1),(25.8,18.1),(25.8,17.7),(25.6,17.7),(25.6,18.1),(25.2,18.1)],
  [(26.6,17.4),(27.6,17.4),(27.6,18.1),(27.2,18.1),(27.2,17.7),(27,17.7),(27,18.1),(26.6,18.1)],
  [(0,18.3),(1,18.3),(1,19),(0.6,19),(0.6,18.6),(0.4,18.6),(0.4,19),(0,19)],
  [(1.4,18.3),(2.4,18.3),(2.4,19),(2,19),(2,18.6),(1.8,18.6),(1.8,19),(1.4,19)],
  [(2.8,18.3),(3.8,18.3),(3.8,19),(3.4,19),(3.4,18.6),(3.2,18.6),(3.2,19),(2.8,19)],
  [(4.2,18.3),(5.2,18.3),(5.2,19),(4.8,19),(4.8,18.6),(4.6,18.6),(4.6,19),(4.2,19)],
  [(5.6,18.3),(6.6,18.3),(6.6,19),(6.2,19),(6.2,18.6),(6,18.6),(6,19),(5.6,19)],
  [(7,18.3),(8,18.3),(8,19),(7.6,19),(7.6,18.6),(7.4,18.6),(7.4,19),(7,19)],
  [(8.4,18.3),(9.4,18.3),(9.4,19),(9,19),(9,18.6),(8.8,18.6),(8.8,19),(8.4,19)],
  [(9.8,18.3),(10.8,18.3),(10.8,19),(10.4,19),(10.4,18.6),(10.2,18.6),(10.2,19),(9.8,19)],
  [(11.2,18.3),(12.2,18.3),(12.2,19),(11.8,19),(11.8,18.6),(11.6,18.6),(11.6,19),(11.2,19)],
  [(12.6,18.3),(13.6,18.3),(13.6,19),(13.2,19),(13.2,18.6),(13,18.6),(13,19),(12.6,19)],
  [(14,18.3),(15,18.3),(15,19),(14.6,19),(14.6,18.6),(14.4,18.6),(14.4,19),(14,19)],
  [(15.4,18.3),(16.4,18.3),(16.4,19),(16,19),(16,18.6),(15.8,18.6),(15.8,19),(15.4,19)],
  [(16.8,18.3),(17.8,18.3),(17.8,19),(17.4,19),(17.4,18.6),(17.2,18.6),(17.2,19),(16.8,19)],
  [(18.2,18.3),(19.2,18.3),(19.2,19),(18.8,19),(18.8,18.6),(18.6,18.6),(18.6,19),(18.2,19)],
  [(19.6,18.3),(20.6,18.3),(20.6,19),(20.2,19),(20.2,18.6),(20,18.6),(20,19),(19.6,19)],
  [(21,18.3),(22,18.3),(22,19),(21.6,19),(21.6,18.6),(21.4,18.6),(21.4,19),(21,19)],
  [(22.4,18.3),(23.4,18.3),(23.4,19),(23,19),(23,18.6),(22.8,18.6),(22.8,19),(22.4,19)],
  [(23.8,18.3),(24.8,18.3),(24.8,19),(24.4,19),(24.4,18.6),(24.2,18.6),(24.2,19),(23.8,19)],
  [(25.2,18.3),(26.2,18.3),(26.2,19),(25.8,19),(25.8,18.6),(25.6,18.6),(25.6,19),(25.2,19)],
  [(26.6,18.3),(27.6,18.3),(27.6,19),(27.2,19),(27.2,18.6),(27,18.6),(27,19),(26.6,19)],
  [(0,19.2),(1,19.2),(1,19.9),(0.6,19.9),(0.6,19.5),(0.4,19.5),(0.4,19.9),(0,19.9)],
  [(1.4,19.2),(2.4,19.2),(2.4,19.9),(2,19.9),(2,19.5),(1.8,19.5),(1.8,19.9),(1.4,19.9)],
  [(2.8,19.2),(3.8,19.2),(3.8,19.9),(3.4,19.9),(3.4,19.5),(3.2,19.5),(3.2,19.9),(2.8,19.9)],
  [(4.2,19.2),(5.2,19.2),(5.2,19.9),(4.8,19.9),(4.8,19.5),(4.6,19.5),(4.6,19.9),(4.2,19.9)],
  [(5.6,19.2),(6.6,19.2),(6.6,19.9),(6.2,19.9),(6.2,19.5),(6,19.5),(6,19.9),(5.6,19.9)],
  [(7,19.2),(8,19.2),(8,19.9),(7.6,19.9),(7.6,19.5),(7.4,19.5),(7.4,19.9),(7,19.9)],
  [(8.4,19.2),(9.4,19.2),(9.4,19.9),(9,19.9),(9,19.5),(8.8,19.5),(8.8,19.9),(8.4,19.9)],
  [(9.8,19.2),(10.8,19.2),(10.8,19.9),(10.4,19.9),(10.4,19.5),(10.2,19.5),(10.2,19.9),(9.8,19.9)],
  [(11.2,19.2),(12.2,19.2),(12.2,19.9),(11.8,19.9),(11.8,19.5),(11.6,19.5),(11.6,19.9),(11.2,19.9)],
  [(12.6,19.2),(13.6,19.2),(13.6,19.9),(13.2,19.9),(13.2,19.5),(13,19.5),(13,19.9),(12.6,19.9)],
  [(14,19.2),(15,19.2),(15,19.9),(14.6,19.9),(14.6,19.5),(14.4,19.5),(14.4,19.9),(14,19.9)],
  [(15.4,19.2),(16.4,19.2),(16.4,19.9),(16,19.9),(16,19.5),(15.8,19.5),(15.8,19.9),(15.4,19.9)],
  [(16.8,19.2),(17.8,19.2),(17.8,19.9),(17.4,19.9),(17.4,19.5),(17.2,19.5),(17.2,19.9),(16.8,19.9)],
  [(18.2,19.2),(19.2,19.2),(19.2,19.9),(18.8,19.9),(18.8,19.5),(18.6,19.5),(18.6,19.9),(18.2,19.9)],
  [(19.6,19.2),(20.6,19.2),(20.6,19.9),(20.2,19.9),(20.2,19.5),(20,19.5),(20,19.9),(19.6,19.9)],
  [(21,19.2),(22,19.2),(22,19.9),(21.6,19.9),(21.6,19.5),(21.4,19.5),(21.4,19.9),(21,19.9)],
  [(22.4,19.2),(23.4,19.2),(23.4,19.9),(23,19.9),(23,19.5),(22.8,19.5),(22.8,19.9),(22.4,19.9)],
  [(23.8,19.2),(24.8,19.2),(24.8,19.9),(24.4,19.9),(24.4,19.5),(24.2,19.5),(24.2,19.9),(23.8,19.9)],
  [(25.2,19.2),(26.2,19.2),(26.2,19.9),(25.8,19.9),(25.8,19.5),(25.6,19.5),(25.6,19.9),(25.2,19.9)],
  [(26.6,19.2),(27.6,19.2),(27.6,19.9),(27.2,19.9),(27.2,19.5),(27,19.5),(27,19.9),(26.6,19.9)],
  [(0,20.1),(1,20.1),(1,20.8),(0.6,20.8),(0.6,20.4),(0.4,20.4),(0.4,20.8),(0,20.8)],
  [(1.4,20.1),(2.4,20.1),(2.4,20.8),(2,20.8),(2,20.4),(1.8,20.4),(1.8,20.8),(1.4,20.8)],
  [(2.8,20.1),(3.8,20.1),(3.8,20.8),(3.4,20.8),(3.4,20.4),(3.2,20.4),(3.2,20.8),(2.8,20.8)],
  [(4.2,20.1),(5.2,20.1),(5.2,20.8),(4.8,20.8),(4.8,20.4),(4.6,20.4),(4.6,20.8),(4.2,20.8)],
  [(5.6,20.1),(6.6,20.1),(6.6,20.8),(6.2,20.8),(6.2,20.4),(6,20.4),(6,20.8),(5.6,20.8)],
  [(7,20.1),(8,20.1),(8,20.8),(7.6,20.8),(7.6,20.4),(7.4,20.4),(7.4,20.8),(7,20.8)],
  [(8.4,20.1),(9.4,20.1),(9.4,20.8),(9,20.8),(9,20.4),(8.8,20.4),(8.8,20.8),(8.4,20.8)],
  [(9.8,20.1),(10.8,20.1),(10.8,20.8),(10.4,20.8),(10.4,20.4),(10.2,20.4),(10.2,20.8),(9.8,20.8)],
  [(11.2,20.1),(12.2,20.1),(12.2,20.8),(11.8,20.8),(11.8,20.4),(11.6,20.4),(11.6,20.8),(11.2,20.8)],
  [(12.6,20.1),(13.6,20.1),(13.6,20.8),(13.2,20.8),(13.2,20.4),(13,20.4),(13,20.8),(12.6,20.8)],
  [(14,20.1),(15,20.1),(15,20.8),(14.6,20.8),(14.6,20.4),(14.4,20.4),(14.4,20.8),(14,20.8)],
  [(15.4,20.1),(16.4,20.1),(16.4,20.8),(16,20.8),(16,20.4),(15.8,20.4),(15.8,20.8),(15.4,20.8)],
  [(16.8,20.1),(17.8,20.1),(17.8,20.8),(17.4,20.8),(17.4,20.4),(17.2,20.4),(17.2,20.8),(16.8,20.8)],
  [(18.2,20.1),(19.2,20.1),(19.2,20.8),(18.8,20.8),(18.8,20.4),(18.6,20.4),(18.6,20.8),(18.2,20.8)],
  [(19.6,20.1),(20.6,20.1),(20.6,20.8),(20.2,20.8),(20.2,20.4),(20,20.4),(20,20.8),(19.6,20.8)],
  [(21,20.1),(22,20.1),(22,20.8),(21.6,20.8),(21.6,20.4),(21.4,20.4),(21.4,20.8),(21,20.8)],
  [(22.4,20.1),(23.4,20.1),(23.4,20.8),(23,20.8),(23,20.4),(22.8,20.4),(22.8,20.8),(22.4,20.8)],
  [(23.8,20.1),(24.8,20.1),(24.8,20.8),(24.4,20.8),(24.4,20.4),(24.2,20.4),(24.2,20.8),(23.8,20.8)],
  [(25.2,20.1),(26.2,20.1),(26.2,20.8),(25.8,20.8),(25.8,20.4),(25.6,20.4),(25.6,20.8),(25.2,20.8)],
  [(26.6,20.1),(27.6,20.1),(27.6,20.8),(27.2,20.8),(27.2,20.4),(27,20.4),(27,20.8),(26.6,20.8)])
R(top, SLAB90, [(-0.5,-0.5,30,20)])
top.add(gdstk.Reference(child, (0,2)))
top.add(gdstk.Reference(child, (3,2)))
top.add(gdstk.Reference(child, (6,2)))
top.add(gdstk.Reference(child, (9,2)))
top.add(gdstk.Reference(child, (12,2)))
top.add(gdstk.Reference(child, (15,2)))
top.add(gdstk.Reference(child, (18,2)))
top.add(gdstk.Reference(child, (21,2)))
top.add(gdstk.Reference(child, (24,2)))

lib.write_gds('TOP.gds')
